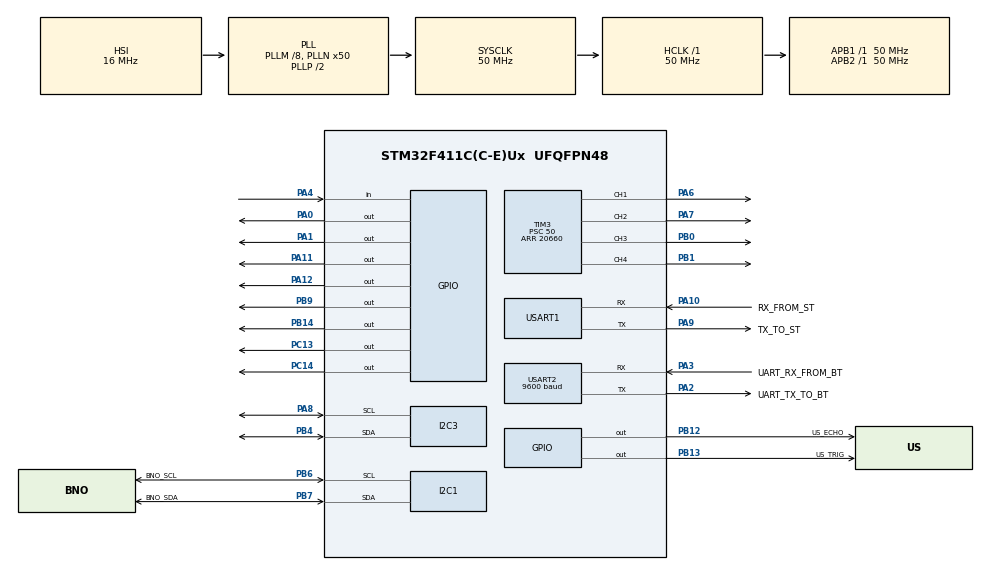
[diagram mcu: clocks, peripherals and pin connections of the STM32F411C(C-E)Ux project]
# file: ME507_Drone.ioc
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Dma.Request0=USART2_RX
Dma.USART2_RX.0.Direction=DMA_PERIPH_TO_MEMORY
Dma.USART2_RX.0.FIFOMode=DMA_FIFOMODE_DISABLE
Dma.USART2_RX.0.Instance=DMA1_Stream5
Dma.USART2_RX.0.MemDataAlignment=DMA_MDATAALIGN_BYTE
Dma.USART2_RX.0.MemInc=DMA_MINC_ENABLE
Dma.USART2_RX.0.Mode=DMA_NORMAL
Dma.USART2_RX.0.PeriphDataAlignment=DMA_PDATAALIGN_BYTE
Dma.USART2_RX.0.PeriphInc=DMA_PINC_DISABLE
Dma.USART2_RX.0.Priority=DMA_PRIORITY_LOW
Mcu.Family=STM32F4
Mcu.Name=STM32F411C(C-E)Ux
Mcu.Package=UFQFPN48
NVIC.DMA1_Stream5_IRQn=true\:0\:0\:false\:false\:true\:false\:true\:true
NVIC.PriorityGroup=NVIC_PRIORITYGROUP_4
NVIC.USART1_IRQn=true\:0\:0\:false\:false\:true\:true\:true\:true
PA0-WKUP.Signal=GPIO_Output
PA1.Signal=GPIO_Output
PA10.GPIO_Label=RX_FROM_ST
PA10.Mode=Asynchronous
PA10.Signal=USART1_RX
PA11.Signal=GPIO_Output
PA12.Signal=GPIO_Output
PA13.Mode=Trace_Asynchronous_SW
PA13.Signal=SYS_JTMS-SWDIO
PA14.Mode=Trace_Asynchronous_SW
PA14.Signal=SYS_JTCK-SWCLK
PA2.GPIO_Label=UART_TX_TO_BT
PA2.Mode=Asynchronous
PA2.Signal=USART2_TX
PA3.GPIO_Label=UART_RX_FROM_BT
PA3.Mode=Asynchronous
PA3.Signal=USART2_RX
PA4.Signal=GPIO_Input
PA6.Signal=S_TIM3_CH1
PA7.Signal=S_TIM3_CH2
PA8.Mode=I2C
PA8.Signal=I2C3_SCL
PA9.GPIO_Label=TX_TO_ST
PA9.Mode=Asynchronous
PA9.Signal=USART1_TX
PB0.Signal=S_TIM3_CH3
PB1.Signal=S_TIM3_CH4
PB12.GPIO_Label=US_ECHO
PB12.Signal=GPIO_Output
PB13.GPIO_Label=US_TRIG
PB13.Signal=GPIO_Output
PB14.Signal=GPIO_Output
PB3.Mode=Trace_Asynchronous_SW
PB3.Signal=SYS_JTDO-SWO
PB4.Mode=I2C
PB4.Signal=I2C3_SDA
PB6.GPIO_Label=BNO_SCL
PB6.Mode=I2C
PB6.Signal=I2C1_SCL
PB7.GPIO_Label=BNO_SDA
PB7.Mode=I2C
PB7.Signal=I2C1_SDA
PB9.Signal=GPIO_Output
PC13-ANTI_TAMP.Signal=GPIO_Output
PC14-OSC32_IN.Signal=GPIO_Output
PH0\ -\ OSC_IN.Signal=RCC_OSC_IN
PH1\ -\ OSC_OUT.Signal=RCC_OSC_OUT
ProjectManager.HeapSize=0x200
ProjectManager.StackSize=0x400
ProjectManager.TargetToolchain=STM32CubeIDE
RCC.48MHZClocksFreq_Value=25000000
RCC.AHBFreq_Value=50000000
RCC.APB1Freq_Value=50000000
RCC.APB1TimCLKDivider=2
RCC.APB1TimFreq_Value=100000000
RCC.APB2Freq_Value=50000000
RCC.APB2TimFreq_Value=50000000
RCC.CortexFreq_Value=50000000
RCC.HCLKFreq_Value=50000000
RCC.HSE_VALUE=25000000
RCC.HSI_VALUE=16000000
RCC.LSE_VALUE=32768
RCC.PLLM=8
RCC.PLLN=50
RCC.SYSCLKFreq_VALUE=50000000
RCC.SYSCLKSource=RCC_SYSCLKSOURCE_PLLCLK
RCC.VCOOutputFreq_Value=100000000
SH.S_TIM3_CH1.0=TIM3_CH1,PWM Generation1 CH1
SH.S_TIM3_CH2.0=TIM3_CH2,PWM Generation2 CH2
SH.S_TIM3_CH3.0=TIM3_CH3,PWM Generation3 CH3
SH.S_TIM3_CH4.0=TIM3_CH4,PWM Generation4 CH4
TIM3.Channel-PWM\ Generation1\ CH1=TIM_CHANNEL_1
TIM3.Channel-PWM\ Generation2\ CH2=TIM_CHANNEL_2
TIM3.Channel-PWM\ Generation3\ CH3=TIM_CHANNEL_3
TIM3.Channel-PWM\ Generation4\ CH4=TIM_CHANNEL_4
TIM3.Period=20660
TIM3.Prescaler=50
TIM3.Pulse-PWM\ Generation1\ CH1=400
TIM3.Pulse-PWM\ Generation2\ CH2=3200
TIM3.Pulse-PWM\ Generation3\ CH3=3200
TIM3.Pulse-PWM\ Generation4\ CH4=3200
USART1.VirtualMode=VM_ASYNC
USART2.BaudRate=9600
USART2.VirtualMode=VM_ASYNC
board=custom

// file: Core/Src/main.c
/* USER CODE BEGIN Header */
/**
  ******************************************************************************
  * @file main.c
  * @brief Main program for quadcopter control. derived as FSM mastermind, implemented in pupre C.
  ******************************************************************************
  * @attention
  *
  * Copyright (c) 2025 STMicroelectronics.
  * All rights reserved.
  *
  * This software is licensed under terms that can be found in the LICENSE file
  * in the root directory of this software component.
  * If no LICENSE file comes with this software, it is provided AS-IS.
  *
  ******************************************************************************
  */
/* USER CODE END Header */
#include "main.h"

/* USER CODE BEGIN Includes */
#include <unistd.h>
#include <string.h>
#include "BNO055.h"
#include "HC05.h"
#include "ESC.h"

//#include "HC05.h"
/* USER CODE END Includes */

/* USER CODE BEGIN PD */
#define PID_SCALE 100000 //100,000 allow us to use ints, not floats for Kp of 1.1 --> 1,100_000
#define true 1
#define false 0
#define BT_MSG_LEN 37
//#define BT_MSG_LEN 2

/* USER CODE END PD */

I2C_HandleTypeDef hi2c1;
I2C_HandleTypeDef hi2c3;

TIM_HandleTypeDef htim3;

UART_HandleTypeDef huart1;
UART_HandleTypeDef huart2;
DMA_HandleTypeDef hdma_usart2_rx;

/* USER CODE BEGIN PV */
UART_HandleTypeDef *BT_UART_ptr = &huart2;
UART_HandleTypeDef *STLink_UART_ptr = &huart1;
volatile int imu_request = 0;

//State
int state = 0;
int32_t roll_set, pitch_set, yaw_set, effort_set;                // from user control
int32_t roll_true, pitch_true, yaw_true;             // from IMU
int32_t roll_effort, pitch_effort, yaw_effort;
int stopFlag = false; //triggered when effortSet is 0

// PID vars
int32_t roll_integral, pitch_integral, yaw_integral;
int32_t roll_derivative, pitch_derivative, yaw_derivative;
int32_t roll_error, pitch_error, yaw_error;        // error for sample n-1
int32_t last_roll_error, last_pitch_error, last_yaw_error;        // error for sample n-1
int32_t last_last_roll_error, last_last_pitch_error, last_last_yaw_error; // error for sample n-2

// Gains
int32_t K_effort = 50000;
// Roll Axis
int32_t Kp_roll = 200;
int32_t Ki_roll = 15;
int32_t Kd_roll = 0;
// Pitch Axis
int32_t Kp_pitch = 200;
int32_t Ki_pitch = 15;
int32_t Kd_pitch = 0;

// Yaw Axis
int32_t Kp_yaw  =0;
int32_t Ki_yaw = 0;
int32_t Kd_yaw = 0;

//BT
uint8_t BT_RxBuf[BT_MSG_LEN];
int     dumpFlag = 0;

//IMU

//

/* USER CODE END PV */

void SystemClock_Config(void);
static void MX_GPIO_Init(void);
static void MX_DMA_Init(void);
static void MX_I2C1_Init(void);
static void MX_TIM3_Init(void);
static void MX_USART1_UART_Init(void);
static void MX_USART2_UART_Init(void);
static void MX_I2C3_Init(void);

int main(void)
{

  /* MCU Configuration--------------------------------------------------------*/

  /* Reset of all peripherals, Initializes the Flash interface and the Systick. */
  HAL_Init();

  /* Configure the system clock */
  SystemClock_Config();

  /* Initialize all configured peripherals */
  MX_GPIO_Init();
  MX_DMA_Init();
  MX_I2C1_Init();
  MX_TIM3_Init();
  MX_USART1_UART_Init();
  MX_USART2_UART_Init();
  MX_I2C3_Init();

  /* Infinite loop */
  /* USER CODE BEGIN WHILE */
  while (1)
  {
	 if (state == 0){
		 //configure_HC05();
		 BNO_Init();
		 state = 1;

	 }else if (state == 1){
		 HAL_UART_Receive_DMA(&huart2, BT_RxBuf, BT_MSG_LEN-1); //allow for DMA Callback

		 		 stopFlag = true;
		 if (roll_set < -10000){
			 armESC();
			 state = 2;
		 }
		 effort_set = 0;

	 }else if(state == 2){ //State 2 is operation (flying) mode where the drone reads the BNO, updates motor PWM to the latest bluetooth DMA
		  BNO_Read(&roll_true, &pitch_true, &yaw_true);
		  update_Motors();
		  if (dumpFlag == 1){
		  			effort_set = 0;
		  			state = 3;
		  		 }

	 }else if(state == 3){//This state is triggered by user input. It sends blackBox data then returns to state 2
		 	dumpBlackbox();
		 	dumpFlag = 0;
		 	HAL_UART_Receive_DMA(&huart2, BT_RxBuf, BT_MSG_LEN-1);
		 	state = 2;
		 	effort_set = 0;
		 	HAL_GPIO_WritePin(GPIOA, GPIO_PIN_1, GPIO_PIN_SET);   // Set PA0 High (go signal)

 }

	  }//while loop close

  //main loop close

    /* USER CODE END WHILE */

}

void SystemClock_Config(void)
{
  RCC_OscInitTypeDef RCC_OscInitStruct = {0};
  RCC_ClkInitTypeDef RCC_ClkInitStruct = {0};

  /** Configure the main internal regulator output voltage
  */
  __HAL_RCC_PWR_CLK_ENABLE();
  __HAL_PWR_VOLTAGESCALING_CONFIG(PWR_REGULATOR_VOLTAGE_SCALE1);

  /** Initializes the RCC Oscillators according to the specified parameters
  * in the RCC_OscInitTypeDef structure.
  */
  RCC_OscInitStruct.OscillatorType = RCC_OSCILLATORTYPE_HSI;
  RCC_OscInitStruct.HSIState = RCC_HSI_ON;
  RCC_OscInitStruct.HSICalibrationValue = RCC_HSICALIBRATION_DEFAULT;
  RCC_OscInitStruct.PLL.PLLState = RCC_PLL_ON;
  RCC_OscInitStruct.PLL.PLLSource = RCC_PLLSOURCE_HSI;
  RCC_OscInitStruct.PLL.PLLM = 8;
  RCC_OscInitStruct.PLL.PLLN = 50;
  RCC_OscInitStruct.PLL.PLLP = RCC_PLLP_DIV2;
  RCC_OscInitStruct.PLL.PLLQ = 4;
  if (HAL_RCC_OscConfig(&RCC_OscInitStruct) != HAL_OK)
  {
    Error_Handler();
  }

  /** Initializes the CPU, AHB and APB buses clocks
  */
  RCC_ClkInitStruct.ClockType = RCC_CLOCKTYPE_HCLK|RCC_CLOCKTYPE_SYSCLK
                              |RCC_CLOCKTYPE_PCLK1|RCC_CLOCKTYPE_PCLK2;
  RCC_ClkInitStruct.SYSCLKSource = RCC_SYSCLKSOURCE_PLLCLK;
  RCC_ClkInitStruct.AHBCLKDivider = RCC_SYSCLK_DIV1;
  RCC_ClkInitStruct.APB1CLKDivider = RCC_HCLK_DIV1;
  RCC_ClkInitStruct.APB2CLKDivider = RCC_HCLK_DIV1;

  if (HAL_RCC_ClockConfig(&RCC_ClkInitStruct, FLASH_LATENCY_1) != HAL_OK)
  {
    Error_Handler();
  }
}

static void MX_I2C1_Init(void)
{

  hi2c1.Instance = I2C1;
  hi2c1.Init.ClockSpeed = 100000;
  hi2c1.Init.DutyCycle = I2C_DUTYCYCLE_2;
  hi2c1.Init.OwnAddress1 = 0;
  hi2c1.Init.AddressingMode = I2C_ADDRESSINGMODE_7BIT;
  hi2c1.Init.DualAddressMode = I2C_DUALADDRESS_DISABLE;
  hi2c1.Init.OwnAddress2 = 0;
  hi2c1.Init.GeneralCallMode = I2C_GENERALCALL_DISABLE;
  hi2c1.Init.NoStretchMode = I2C_NOSTRETCH_DISABLE;
  if (HAL_I2C_Init(&hi2c1) != HAL_OK)
  {
    Error_Handler();
  }

}

static void MX_I2C3_Init(void)
{

  hi2c3.Instance = I2C3;
  hi2c3.Init.ClockSpeed = 100000;
  hi2c3.Init.DutyCycle = I2C_DUTYCYCLE_2;
  hi2c3.Init.OwnAddress1 = 0;
  hi2c3.Init.AddressingMode = I2C_ADDRESSINGMODE_7BIT;
  hi2c3.Init.DualAddressMode = I2C_DUALADDRESS_DISABLE;
  hi2c3.Init.OwnAddress2 = 0;
  hi2c3.Init.GeneralCallMode = I2C_GENERALCALL_DISABLE;
  hi2c3.Init.NoStretchMode = I2C_NOSTRETCH_DISABLE;
  if (HAL_I2C_Init(&hi2c3) != HAL_OK)
  {
    Error_Handler();
  }

}

static void MX_TIM3_Init(void)
{

  TIM_MasterConfigTypeDef sMasterConfig = {0};
  TIM_OC_InitTypeDef sConfigOC = {0};

  htim3.Instance = TIM3;
  htim3.Init.Prescaler = 50;
  htim3.Init.CounterMode = TIM_COUNTERMODE_UP;
  htim3.Init.Period = 20660;
  htim3.Init.ClockDivision = TIM_CLOCKDIVISION_DIV1;
  htim3.Init.AutoReloadPreload = TIM_AUTORELOAD_PRELOAD_DISABLE;
  if (HAL_TIM_PWM_Init(&htim3) != HAL_OK)
  {
    Error_Handler();
  }
  sMasterConfig.MasterOutputTrigger = TIM_TRGO_RESET;
  sMasterConfig.MasterSlaveMode = TIM_MASTERSLAVEMODE_DISABLE;
  if (HAL_TIMEx_MasterConfigSynchronization(&htim3, &sMasterConfig) != HAL_OK)
  {
    Error_Handler();
  }
  sConfigOC.OCMode = TIM_OCMODE_PWM1;
  sConfigOC.Pulse = 400;
  sConfigOC.OCPolarity = TIM_OCPOLARITY_HIGH;
  sConfigOC.OCFastMode = TIM_OCFAST_DISABLE;
  if (HAL_TIM_PWM_ConfigChannel(&htim3, &sConfigOC, TIM_CHANNEL_1) != HAL_OK)
  {
    Error_Handler();
  }
  sConfigOC.Pulse = 3200;
  if (HAL_TIM_PWM_ConfigChannel(&htim3, &sConfigOC, TIM_CHANNEL_2) != HAL_OK)
  {
    Error_Handler();
  }
  if (HAL_TIM_PWM_ConfigChannel(&htim3, &sConfigOC, TIM_CHANNEL_3) != HAL_OK)
  {
    Error_Handler();
  }
  if (HAL_TIM_PWM_ConfigChannel(&htim3, &sConfigOC, TIM_CHANNEL_4) != HAL_OK)
  {
    Error_Handler();
  }
  HAL_TIM_MspPostInit(&htim3);

}

static void MX_USART1_UART_Init(void)
{

  huart1.Instance = USART1;
  huart1.Init.BaudRate = 115200;
  huart1.Init.WordLength = UART_WORDLENGTH_8B;
  huart1.Init.StopBits = UART_STOPBITS_1;
  huart1.Init.Parity = UART_PARITY_NONE;
  huart1.Init.Mode = UART_MODE_TX_RX;
  huart1.Init.HwFlowCtl = UART_HWCONTROL_NONE;
  huart1.Init.OverSampling = UART_OVERSAMPLING_16;
  if (HAL_UART_Init(&huart1) != HAL_OK)
  {
    Error_Handler();
  }

}

static void MX_USART2_UART_Init(void)
{

  huart2.Instance = USART2;
  huart2.Init.BaudRate = 9600;
  huart2.Init.WordLength = UART_WORDLENGTH_8B;
  huart2.Init.StopBits = UART_STOPBITS_1;
  huart2.Init.Parity = UART_PARITY_NONE;
  huart2.Init.Mode = UART_MODE_TX_RX;
  huart2.Init.HwFlowCtl = UART_HWCONTROL_NONE;
  huart2.Init.OverSampling = UART_OVERSAMPLING_16;
  if (HAL_UART_Init(&huart2) != HAL_OK)
  {
    Error_Handler();
  }

}

static void MX_DMA_Init(void)
{

  /* DMA controller clock enable */
  __HAL_RCC_DMA1_CLK_ENABLE();

  /* DMA interrupt init */
  /* DMA1_Stream5_IRQn interrupt configuration */
  HAL_NVIC_SetPriority(DMA1_Stream5_IRQn, 0, 0);
  HAL_NVIC_EnableIRQ(DMA1_Stream5_IRQn);

}

static void MX_GPIO_Init(void)
{
  GPIO_InitTypeDef GPIO_InitStruct = {0};

  /* GPIO Ports Clock Enable */
  __HAL_RCC_GPIOC_CLK_ENABLE();
  __HAL_RCC_GPIOH_CLK_ENABLE();
  __HAL_RCC_GPIOA_CLK_ENABLE();
  __HAL_RCC_GPIOB_CLK_ENABLE();

  /*Configure GPIO pin Output Level */
  HAL_GPIO_WritePin(GPIOC, GPIO_PIN_13|GPIO_PIN_14, GPIO_PIN_RESET);

  /*Configure GPIO pin Output Level */
  HAL_GPIO_WritePin(GPIOA, GPIO_PIN_0|GPIO_PIN_1|GPIO_PIN_11|GPIO_PIN_12, GPIO_PIN_RESET);

  /*Configure GPIO pin Output Level */
  HAL_GPIO_WritePin(GPIOB, US_ECHO_Pin|US_TRIG_Pin|GPIO_PIN_14|GPIO_PIN_9, GPIO_PIN_RESET);

  /*Configure GPIO pins : PC13 PC14 */
  GPIO_InitStruct.Pin = GPIO_PIN_13|GPIO_PIN_14;
  GPIO_InitStruct.Mode = GPIO_MODE_OUTPUT_PP;
  GPIO_InitStruct.Pull = GPIO_NOPULL;
  GPIO_InitStruct.Speed = GPIO_SPEED_FREQ_LOW;
  HAL_GPIO_Init(GPIOC, &GPIO_InitStruct);

  /*Configure GPIO pins : PA0 PA1 PA11 PA12 */
  GPIO_InitStruct.Pin = GPIO_PIN_0|GPIO_PIN_1|GPIO_PIN_11|GPIO_PIN_12;
  GPIO_InitStruct.Mode = GPIO_MODE_OUTPUT_PP;
  GPIO_InitStruct.Pull = GPIO_NOPULL;
  GPIO_InitStruct.Speed = GPIO_SPEED_FREQ_LOW;
  HAL_GPIO_Init(GPIOA, &GPIO_InitStruct);

  /*Configure GPIO pin : PA4 */
  GPIO_InitStruct.Pin = GPIO_PIN_4;
  GPIO_InitStruct.Mode = GPIO_MODE_INPUT;
  GPIO_InitStruct.Pull = GPIO_NOPULL;
  HAL_GPIO_Init(GPIOA, &GPIO_InitStruct);

  /*Configure GPIO pins : US_ECHO_Pin US_TRIG_Pin PB14 PB9 */
  GPIO_InitStruct.Pin = US_ECHO_Pin|US_TRIG_Pin|GPIO_PIN_14|GPIO_PIN_9;
  GPIO_InitStruct.Mode = GPIO_MODE_OUTPUT_PP;
  GPIO_InitStruct.Pull = GPIO_NOPULL;
  GPIO_InitStruct.Speed = GPIO_SPEED_FREQ_LOW;
  HAL_GPIO_Init(GPIOB, &GPIO_InitStruct);

}

/* USER CODE BEGIN 4 */

/**
  * @brief  This callback function is triggered when UART2 (HC05 Stream) fills BT_RxBuf (Direct to Memory).
  *  It adds an end message statment, sends the buffer to the processInput function and sets the imu_request flag
  *
  * @retval None
  */
void HAL_UART_RxCpltCallback(UART_HandleTypeDef *huart)//should trigger when DMA reads complete message
{    if (huart->Instance == USART2) {
        // Null-terminate just in case you're using sscanf or string functions
        BT_RxBuf[BT_MSG_LEN - 1] = '\0';

        // Process entire message

        processInput((char *)BT_RxBuf, &roll_set, &pitch_set, &yaw_set, &effort_set, &dumpFlag);
        }
        // Restart DMA to receive next message
        //HAL_UART_Receive_DMA(&huart2, BT_RxBuf, BT_MSG_LEN); //set up this function to run on next BT input
        imu_request = true; //set up IMU to run when interupt exits
        HAL_UART_Receive_DMA(&huart2, BT_RxBuf, BT_MSG_LEN-1); //set up this function to run on next BT input
}
/**
  * @brief  This function is used to send printf() statments to the ST-Link UART
  * @retval None
  */
int __io_putchar(int ch) {
    HAL_UART_Transmit(&huart2, (uint8_t *)&ch, 1, HAL_MAX_DELAY);
    return ch;
}
/* USER CODE END 4 */

void Error_Handler(void)
{
  __disable_irq();
  while (1)
  {
  }
}
